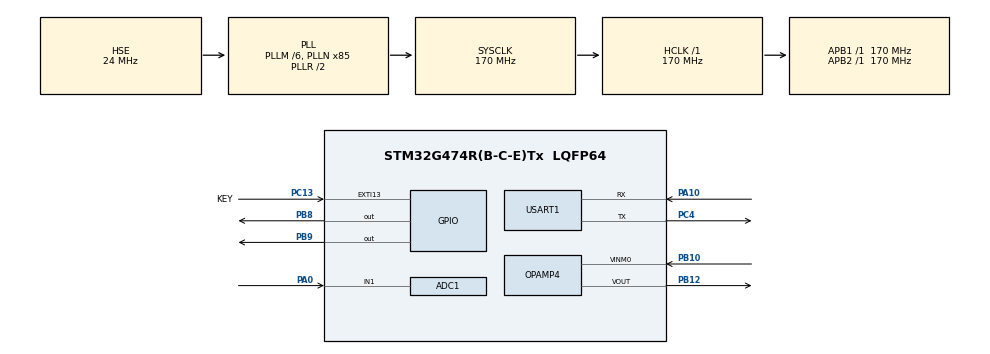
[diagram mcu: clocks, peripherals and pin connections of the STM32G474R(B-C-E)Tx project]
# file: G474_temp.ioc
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ADC1.Channel-0\#ChannelRegularConversion=ADC_CHANNEL_1
ADC1.ContinuousConvMode=DISABLE
ADC1.DMAContinuousRequests=DISABLE
ADC1.ExternalTrigConv=ADC_EXTERNALTRIG_T3_TRGO
ADC1.NbrOfConversionFlag=1
ADC1.OffsetNumber-0\#ChannelRegularConversion=ADC_OFFSET_NONE
ADC1.Rank-0\#ChannelRegularConversion=1
ADC1.SamplingTime-0\#ChannelRegularConversion=ADC_SAMPLETIME_2CYCLES_5
ADC1.master=1
Dma.ADC1.0.Direction=DMA_PERIPH_TO_MEMORY
Dma.ADC1.0.EventEnable=DISABLE
Dma.ADC1.0.Instance=DMA1_Channel1
Dma.ADC1.0.MemDataAlignment=DMA_MDATAALIGN_HALFWORD
Dma.ADC1.0.MemInc=DMA_MINC_ENABLE
Dma.ADC1.0.Mode=DMA_CIRCULAR
Dma.ADC1.0.PeriphDataAlignment=DMA_PDATAALIGN_HALFWORD
Dma.ADC1.0.PeriphInc=DMA_PINC_DISABLE
Dma.ADC1.0.Polarity=HAL_DMAMUX_REQ_GEN_RISING
Dma.ADC1.0.Priority=DMA_PRIORITY_LOW
Dma.ADC1.0.RequestNumber=1
Dma.ADC1.0.SignalID=NONE
Dma.ADC1.0.SyncEnable=DISABLE
Dma.ADC1.0.SyncPolarity=HAL_DMAMUX_SYNC_NO_EVENT
Dma.ADC1.0.SyncRequestNumber=1
Dma.ADC1.0.SyncSignalID=NONE
Dma.Request0=ADC1
Mcu.Family=STM32G4
Mcu.Name=STM32G474R(B-C-E)Tx
Mcu.Package=LQFP64
NVIC.DMA1_Channel1_IRQn=true\:0\:0\:false\:false\:true\:false\:true\:true
NVIC.EXTI15_10_IRQn=true\:0\:0\:false\:false\:true\:true\:true\:true
NVIC.PriorityGroup=NVIC_PRIORITYGROUP_4
NVIC.USART1_IRQn=true\:0\:0\:false\:false\:true\:true\:true\:true
PA0.Mode=IN1-Single-Ended
PA0.Signal=ADC1_IN1
PA10.Mode=Asynchronous
PA10.Signal=USART1_RX
PA13.Mode=Serial_Wire
PA13.Signal=SYS_JTMS-SWDIO
PA14.Mode=Serial_Wire
PA14.Signal=SYS_JTCK-SWCLK
PB10.Mode=PGA Connected-INVERTINGINPUT_IO0_BIAS-DAC_OUT1-INP
PB10.Signal=OPAMP4_VINM0
PB12.Mode=PGA Connected-INVERTINGINPUT_IO0_BIAS-DAC_OUT1-INP
PB12.Signal=OPAMP4_VOUT
PB8-BOOT0.Signal=GPIO_Output
PB9.GPIO_ModeDefaultOutputPP=GPIO_MODE_OUTPUT_OD
PB9.GPIO_PuPd=GPIO_PULLUP
PB9.GPIO_Speed=GPIO_SPEED_FREQ_VERY_HIGH
PB9.Signal=GPIO_Output
PC13.GPIO_Label=KEY
PC13.Signal=GPXTI13
PC14-OSC32_IN.Mode=LSE-External-Oscillator
PC14-OSC32_IN.Signal=RCC_OSC32_IN
PC15-OSC32_OUT.Mode=LSE-External-Oscillator
PC15-OSC32_OUT.Signal=RCC_OSC32_OUT
PC4.Mode=Asynchronous
PC4.Signal=USART1_TX
PF0-OSC_IN.Mode=HSE-External-Oscillator
PF0-OSC_IN.Signal=RCC_OSC_IN
PF1-OSC_OUT.Mode=HSE-External-Oscillator
PF1-OSC_OUT.Signal=RCC_OSC_OUT
ProjectManager.HeapSize=0x200
ProjectManager.StackSize=0x400
ProjectManager.TargetToolchain=MDK-ARM V5.32
RCC.ADC12Freq_Value=170000000
RCC.ADC345Freq_Value=170000000
RCC.AHBFreq_Value=170000000
RCC.APB1Freq_Value=170000000
RCC.APB1TimFreq_Value=170000000
RCC.APB2Freq_Value=170000000
RCC.APB2TimFreq_Value=170000000
RCC.CortexFreq_Value=170000000
RCC.EXTERNAL_CLOCK_VALUE=12288000
RCC.HCLKFreq_Value=170000000
RCC.HSE_VALUE=24000000
RCC.HSI48_VALUE=48000000
RCC.HSI_VALUE=16000000
RCC.PLLM=RCC_PLLM_DIV6
RCC.PLLN=85
RCC.PLLSourceVirtual=RCC_PLLSOURCE_HSE
RCC.RTCClockSelection=RCC_RTCCLKSOURCE_LSE
RCC.SYSCLKFreq_VALUE=170000000
RCC.SYSCLKSource=RCC_SYSCLKSOURCE_PLLCLK
RCC.USBFreq_Value=170000000
RCC.VCOOutputFreq_Value=340000000
STMicroelectronics.X-CUBE-ALGOBUILD.1.3.0.LibraryCcDSPOoLibraryJjDSPOoLibrary=true
TIM3.TIM_MasterOutputTrigger=TIM_TRGO_UPDATE
USART1.VirtualMode-Asynchronous=VM_ASYNC
VP_DAC4_VS_DACI1.Mode=DAC_OUT1_Int
VP_STMicroelectronics.X-CUBE-ALGOBUILD_VS_DSPOoLibraryJjLibrary_1.3.0_1.3.0.Mode=DSPOoLibraryJjLibrary
VP_SYS_VS_DBSignals.Mode=DisableDeadBatterySignals
VP_TIM3_VS_ClockSourceINT.Mode=Internal
board=NUCLEO-G474RE

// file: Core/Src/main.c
/* USER CODE BEGIN Header */
/**
  ******************************************************************************
  * @file           : main.c
  * @brief          : Main program body
  ******************************************************************************
  * @attention
  *
  * Copyright (c) 2023 STMicroelectronics.
  * All rights reserved.
  *
  * This software is licensed under terms that can be found in the LICENSE file
  * in the root directory of this software component.
  * If no LICENSE file comes with this software, it is provided AS-IS.
  *
  ******************************************************************************
  */
/* USER CODE END Header */
#include "main.h"
#include "adc.h"
#include "dac.h"
#include "dma.h"
#include "opamp.h"
#include "tim.h"
#include "usart.h"
#include "gpio.h"

/* USER CODE BEGIN Includes */
#include "delay.h"
#include "myusart1.h"
#include "OLED_I2C.h"
#include "FFT.h"
/* USER CODE END Includes */

void SystemClock_Config(void);

int main(void)
{

  /* MCU Configuration--------------------------------------------------------*/

  /* Reset of all peripherals, Initializes the Flash interface and the Systick. */
  HAL_Init();

  /* Configure the system clock */
  SystemClock_Config();

  /* Initialize all configured peripherals */
  MX_GPIO_Init();
  MX_DMA_Init();
  MX_USART1_UART_Init();
  MX_ADC1_Init();
  MX_TIM3_Init();
  MX_DAC4_Init();
  MX_OPAMP4_Init();
  /* USER CODE BEGIN 2 */
  delay_init(170);
  MyUSART1_Init(&huart1);
  OLED_Init();
  OLED_CLS();
  BackGround();
//
  ADC_Init();

  HAL_OPAMP_Start(&hopamp4);
  HAL_DAC_Start(&hdac4,DAC_CHANNEL_1);
  HAL_DAC_SetValue(&hdac4,DAC_CHANNEL_1,DAC_ALIGN_12B_R,(uint32_t)(4095.0f*(1.0f/3.3f)));

  /* USER CODE END 2 */

  /* Infinite loop */
  while (1)
  {

  }
}

void SystemClock_Config(void)
{
  RCC_OscInitTypeDef RCC_OscInitStruct = {0};
  RCC_ClkInitTypeDef RCC_ClkInitStruct = {0};

  /** Configure the main internal regulator output voltage
  */
  HAL_PWREx_ControlVoltageScaling(PWR_REGULATOR_VOLTAGE_SCALE1_BOOST);

  /** Initializes the RCC Oscillators according to the specified parameters
  * in the RCC_OscInitTypeDef structure.
  */
  RCC_OscInitStruct.OscillatorType = RCC_OSCILLATORTYPE_HSE;
  RCC_OscInitStruct.HSEState = RCC_HSE_ON;
  RCC_OscInitStruct.PLL.PLLState = RCC_PLL_ON;
  RCC_OscInitStruct.PLL.PLLSource = RCC_PLLSOURCE_HSE;
  RCC_OscInitStruct.PLL.PLLM = RCC_PLLM_DIV6;
  RCC_OscInitStruct.PLL.PLLN = 85;
  RCC_OscInitStruct.PLL.PLLP = RCC_PLLP_DIV2;
  RCC_OscInitStruct.PLL.PLLQ = RCC_PLLQ_DIV2;
  RCC_OscInitStruct.PLL.PLLR = RCC_PLLR_DIV2;
  if (HAL_RCC_OscConfig(&RCC_OscInitStruct) != HAL_OK)
  {
    Error_Handler();
  }

  /** Initializes the CPU, AHB and APB buses clocks
  */
  RCC_ClkInitStruct.ClockType = RCC_CLOCKTYPE_HCLK|RCC_CLOCKTYPE_SYSCLK
                              |RCC_CLOCKTYPE_PCLK1|RCC_CLOCKTYPE_PCLK2;
  RCC_ClkInitStruct.SYSCLKSource = RCC_SYSCLKSOURCE_PLLCLK;
  RCC_ClkInitStruct.AHBCLKDivider = RCC_SYSCLK_DIV1;
  RCC_ClkInitStruct.APB1CLKDivider = RCC_HCLK_DIV1;
  RCC_ClkInitStruct.APB2CLKDivider = RCC_HCLK_DIV1;

  if (HAL_RCC_ClockConfig(&RCC_ClkInitStruct, FLASH_LATENCY_4) != HAL_OK)
  {
    Error_Handler();
  }
}

/* USER CODE BEGIN 4 */
void HAL_GPIO_EXTI_Callback(uint16_t GPIO_PIN)
{
	if(KEY_Pin)
	{

	}
}

void HAL_ADC_ConvCpltCallback(ADC_HandleTypeDef *hadc)
{
	if(hadc == &hadc1)
	{
		fft();
	}
	ADC_Get();
}
/* USER CODE END 4 */

void Error_Handler(void)
{
  __disable_irq();
  while (1)
  {
  }
}
